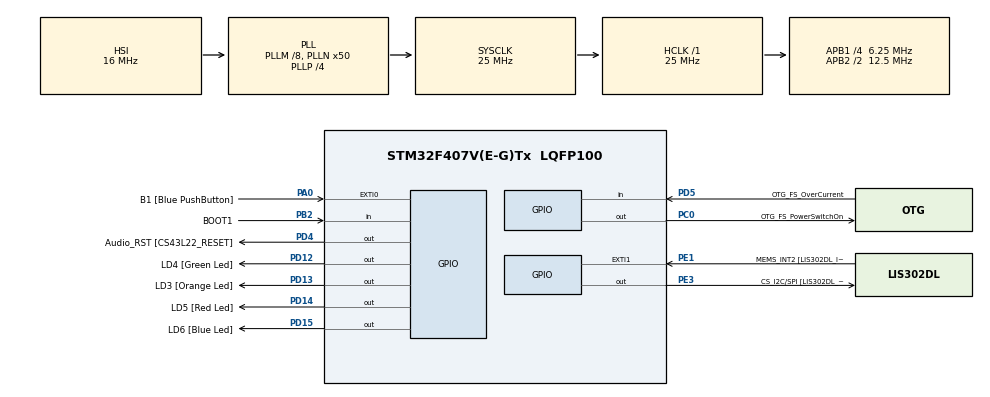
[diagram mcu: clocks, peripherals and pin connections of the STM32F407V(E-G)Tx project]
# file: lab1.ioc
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Mcu.Family=STM32F4
Mcu.Name=STM32F407V(E-G)Tx
Mcu.Package=LQFP100
NVIC.PriorityGroup=NVIC_PRIORITYGROUP_4
NVIC.TIM7_IRQn=true\:0\:0\:false\:false\:true\:false\:true\:true
NVIC.TimeBase=TIM7_IRQn
NVIC.TimeBaseIP=TIM7
PA0-WKUP.GPIO_Label=B1 [Blue PushButton]
PA0-WKUP.Signal=GPXTI0
PA10.GPIO_Label=OTG_FS_ID
PA10.GPIO_Mode=GPIO_MODE_AF_PP
PA10.GPIO_PuPd=GPIO_NOPULL
PA10.GPIO_Speed=GPIO_SPEED_FREQ_LOW
PA10.Signal=USB_OTG_FS_ID
PA11.GPIO_Label=OTG_FS_DM
PA11.GPIO_Mode=GPIO_MODE_AF_PP
PA11.GPIO_PuPd=GPIO_NOPULL
PA11.GPIO_Speed=GPIO_SPEED_FREQ_LOW
PA11.Signal=USB_OTG_FS_DM
PA12.GPIO_Label=OTG_FS_DP
PA12.GPIO_Mode=GPIO_MODE_AF_PP
PA12.GPIO_PuPd=GPIO_NOPULL
PA12.GPIO_Speed=GPIO_SPEED_FREQ_LOW
PA12.Signal=USB_OTG_FS_DP
PA13.GPIO_Label=SWDIO
PA13.Mode=Serial_Wire
PA13.Signal=SYS_JTMS-SWDIO
PA14.GPIO_Label=SWCLK
PA14.Mode=Serial_Wire
PA14.Signal=SYS_JTCK-SWCLK
PA4.GPIO_Label=I2S3_WS [CS43L22_LRCK]
PA4.GPIO_Mode=GPIO_MODE_AF_PP
PA4.GPIO_PuPd=GPIO_NOPULL
PA4.GPIO_Speed=GPIO_SPEED_FREQ_LOW
PA4.Signal=I2S3_WS
PA5.GPIO_Label=SPI1_SCK [LIS302DL_SCL/SPC]
PA5.GPIO_Mode=GPIO_MODE_AF_PP
PA5.GPIO_PuPd=GPIO_NOPULL
PA5.GPIO_Speed=GPIO_SPEED_FREQ_LOW
PA5.Signal=SPI1_SCK
PA6.GPIO_Label=SPI1_MISO [LIS302DL_SDO]
PA6.GPIO_Mode=GPIO_MODE_AF_PP
PA6.GPIO_PuPd=GPIO_NOPULL
PA6.GPIO_Speed=GPIO_SPEED_FREQ_LOW
PA6.Signal=SPI1_MISO
PA7.GPIO_Label=SPI1_MOSI [LIS302DL_SDA/SDI/SDO]
PA7.GPIO_Mode=GPIO_MODE_AF_PP
PA7.GPIO_PuPd=GPIO_NOPULL
PA7.GPIO_Speed=GPIO_SPEED_FREQ_LOW
PA7.Signal=SPI1_MOSI
PA9.GPIO_Label=VBUS_FS
PA9.GPIO_Mode=GPIO_MODE_INPUT
PA9.GPIO_PuPd=GPIO_NOPULL
PA9.Signal=USB_OTG_FS_VBUS
PB10.GPIO_Label=CLK_IN [MP45DT02_CLK]
PB10.GPIO_Mode=GPIO_MODE_AF_PP
PB10.GPIO_PuPd=GPIO_NOPULL
PB10.GPIO_Speed=GPIO_SPEED_FREQ_LOW
PB10.Signal=I2S2_CK
PB2.GPIO_Label=BOOT1
PB2.GPIO_Mode=GPIO_MODE_INPUT
PB2.GPIO_PuPd=GPIO_NOPULL
PB2.Signal=GPIO_Input
PB3.GPIO_Label=SWO
PB3.Signal=SYS_JTDO-SWO
PB6.GPIO_Label=Audio_SCL [CS43L22_SCL]
PB6.GPIO_Mode=GPIO_MODE_AF_OD
PB6.GPIO_PuPd=GPIO_NOPULL
PB6.GPIO_Speed=GPIO_SPEED_FREQ_LOW
PB6.Signal=I2C1_SCL
PB9.GPIO_Label=Audio_SDA [CS43L22_SDA]
PB9.GPIO_Mode=GPIO_MODE_AF_OD
PB9.GPIO_PuPd=GPIO_NOPULL
PB9.GPIO_Speed=GPIO_SPEED_FREQ_LOW
PB9.Signal=I2C1_SDA
PC0.GPIO_Label=OTG_FS_PowerSwitchOn
PC0.GPIO_PuPd=GPIO_NOPULL
PC0.GPIO_Speed=GPIO_SPEED_FREQ_LOW
PC0.PinState=GPIO_PIN_SET
PC0.Signal=GPIO_Output
PC10.GPIO_Label=I2S3_SCK [CS43L22_SCLK]
PC10.GPIO_Mode=GPIO_MODE_AF_PP
PC10.GPIO_PuPd=GPIO_NOPULL
PC10.GPIO_Speed=GPIO_SPEED_FREQ_LOW
PC10.Signal=I2S3_CK
PC12.GPIO_Label=I2S3_SD [CS43L22_SDIN]
PC12.GPIO_Mode=GPIO_MODE_AF_PP
PC12.GPIO_PuPd=GPIO_NOPULL
PC12.GPIO_Speed=GPIO_SPEED_FREQ_LOW
PC12.Signal=I2S3_SD
PC14-OSC32_IN.GPIO_Label=PC14-OSC32_IN
PC14-OSC32_IN.Signal=RCC_OSC32_IN
PC15-OSC32_OUT.GPIO_Label=PC15-OSC32_OUT
PC15-OSC32_OUT.Signal=RCC_OSC32_OUT
PC3.GPIO_Label=PDM_OUT [MP45DT02_DOUT]
PC3.GPIO_Mode=GPIO_MODE_AF_PP
PC3.GPIO_PuPd=GPIO_NOPULL
PC3.GPIO_Speed=GPIO_SPEED_FREQ_LOW
PC3.Signal=I2S2_SD
PC7.GPIO_Label=I2S3_MCK [CS43L22_MCLK]
PC7.GPIO_Mode=GPIO_MODE_AF_PP
PC7.GPIO_PuPd=GPIO_NOPULL
PC7.GPIO_Speed=GPIO_SPEED_FREQ_LOW
PC7.Signal=I2S3_MCK
PD12.GPIO_Label=LD4 [Green Led]
PD12.GPIO_PuPd=GPIO_NOPULL
PD12.GPIO_Speed=GPIO_SPEED_FREQ_LOW
PD12.Signal=GPIO_Output
PD13.GPIO_Label=LD3 [Orange Led]
PD13.GPIO_PuPd=GPIO_NOPULL
PD13.GPIO_Speed=GPIO_SPEED_FREQ_LOW
PD13.Signal=GPIO_Output
PD14.GPIO_Label=LD5 [Red Led]
PD14.GPIO_PuPd=GPIO_NOPULL
PD14.GPIO_Speed=GPIO_SPEED_FREQ_LOW
PD14.Signal=GPIO_Output
PD15.GPIO_Label=LD6 [Blue Led]
PD15.GPIO_PuPd=GPIO_NOPULL
PD15.GPIO_Speed=GPIO_SPEED_FREQ_LOW
PD15.Signal=GPIO_Output
PD4.GPIO_Label=Audio_RST [CS43L22_RESET]
PD4.GPIO_PuPd=GPIO_NOPULL
PD4.GPIO_Speed=GPIO_SPEED_FREQ_LOW
PD4.Signal=GPIO_Output
PD5.GPIO_Label=OTG_FS_OverCurrent
PD5.GPIO_Mode=GPIO_MODE_INPUT
PD5.GPIO_PuPd=GPIO_NOPULL
PD5.Signal=GPIO_Input
PE1.GPIO_Label=MEMS_INT2 [LIS302DL_INT2]
PE1.GPIO_ModeDefaultEXTI=GPIO_MODE_EVT_RISING
PE1.GPIO_PuPd=GPIO_NOPULL
PE1.Signal=GPXTI1
PE3.GPIO_Label=CS_I2C/SPI [LIS302DL_CS_I2C/SPI]
PE3.GPIO_PuPd=GPIO_NOPULL
PE3.GPIO_Speed=GPIO_SPEED_FREQ_LOW
PE3.Signal=GPIO_Output
PH0-OSC_IN.GPIO_Label=PH0-OSC_IN
PH0-OSC_IN.Signal=RCC_OSC_IN
PH1-OSC_OUT.GPIO_Label=PH1-OSC_OUT
PH1-OSC_OUT.Signal=RCC_OSC_OUT
ProjectManager.HeapSize=0x200
ProjectManager.StackSize=0x400
ProjectManager.TargetToolchain=STM32CubeIDE
RCC.48MHZClocksFreq_Value=14285714.285714285
RCC.AHBFreq_Value=25000000
RCC.APB1CLKDivider=RCC_HCLK_DIV4
RCC.APB1Freq_Value=6250000
RCC.APB1TimFreq_Value=12500000
RCC.APB2CLKDivider=RCC_HCLK_DIV2
RCC.APB2Freq_Value=12500000
RCC.APB2TimFreq_Value=25000000
RCC.CortexFreq_Value=25000000
RCC.HCLKFreq_Value=25000000
RCC.HSE_VALUE=8000000
RCC.HSI_VALUE=16000000
RCC.LSE_VALUE=32768
RCC.PLLM=8
RCC.PLLN=50
RCC.PLLP=RCC_PLLP_DIV4
RCC.PLLQ=7
RCC.SYSCLKFreq_VALUE=25000000
RCC.SYSCLKSource=RCC_SYSCLKSOURCE_PLLCLK
RCC.VCOOutputFreq_Value=100000000
VP_SYS_VS_tim7.Mode=TIM7
board=STM32F407G-DISC1

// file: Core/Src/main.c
/* USER CODE BEGIN Header */
/**
  ******************************************************************************
  * @file           : main.c
  * @brief          : Main program body
  ******************************************************************************
  * @attention
  *
  * Copyright (c) 2026 STMicroelectronics.
  * All rights reserved.
  *
  * This software is licensed under terms that can be found in the LICENSE file
  * in the root directory of this software component.
  * If no LICENSE file comes with this software, it is provided AS-IS.
  *
  ******************************************************************************
  */
/* USER CODE END Header */
#include "main.h"
#include "FreeRTOS.h"
#include "task.h"
#include "queue.h"
#include <stdbool.h>

void SystemClock_Config(void);
static void MX_GPIO_Init(void);

/* USER CODE BEGIN 0 */
typedef enum {
    S1,
    S2
} LEDState_t;

LEDState_t current_state = S1;
int s1_step = 0;
TaskHandle_t xLEDTaskHandle = NULL;
xQueueHandle xStateQueue;

void LED_Task(void *pvParameters) {
    uint8_t dummy;
    for (;;) {
        if (current_state == S1) {
            uint16_t pin;
            if      (s1_step == 0) pin = GPIO_PIN_14;
            else if (s1_step == 1) pin = GPIO_PIN_13;
            else                   pin = GPIO_PIN_12;

            HAL_GPIO_WritePin(GPIOD, pin, GPIO_PIN_SET);

            if (xQueueReceive(xStateQueue, &dummy, pdMS_TO_TICKS(1000)) == pdPASS) {
                current_state = S2;
                HAL_GPIO_WritePin(GPIOD, GPIO_PIN_12 | GPIO_PIN_13 | GPIO_PIN_14, GPIO_PIN_RESET);
                continue;
            }

            HAL_GPIO_WritePin(GPIOD, pin, GPIO_PIN_RESET);
            s1_step = (s1_step + 1) % 3;
        } else {
            HAL_GPIO_TogglePin(GPIOD, GPIO_PIN_13);

            if (xQueueReceive(xStateQueue, &dummy, pdMS_TO_TICKS(500)) == pdPASS) {
                current_state = S1;
                s1_step = (s1_step + 1) % 3;
                HAL_GPIO_WritePin(GPIOD, GPIO_PIN_12 | GPIO_PIN_13 | GPIO_PIN_14, GPIO_PIN_RESET);
            }
        }
    }
}

void Button_Task(void *pvParameters) {
    uint32_t start_time;
    uint8_t sig = 1;
    bool is_suspended = false;

    for (;;) {
        if (HAL_GPIO_ReadPin(GPIOA, GPIO_PIN_0) == GPIO_PIN_SET) {
            vTaskDelay(20); // 消抖
            if (HAL_GPIO_ReadPin(GPIOA, GPIO_PIN_0) == GPIO_PIN_SET) {
                start_time = xTaskGetTickCount();

                while (HAL_GPIO_ReadPin(GPIOA, GPIO_PIN_0) == GPIO_PIN_SET) {
                    vTaskDelay(20);
                }

                uint32_t duration = xTaskGetTickCount() - start_time;

                if (duration >= 1000) {
                    if (!is_suspended) {
                        vTaskSuspend(xLEDTaskHandle);
                        is_suspended = true;
                    } else {
                        vTaskResume(xLEDTaskHandle);
                        is_suspended = false;
                    }
                } else {
                    if (!is_suspended) {
                        xQueueSend(xStateQueue, &sig, 0);
                    }
                }
            }
        }
        vTaskDelay(50);
    }
}

/* USER CODE END 0 */

int main(void)
{

  /* MCU Configuration--------------------------------------------------------*/

  /* Reset of all peripherals, Initializes the Flash interface and the Systick. */
  HAL_Init();

  /* Configure the system clock */
  SystemClock_Config();

  /* Initialize all configured peripherals */
  MX_GPIO_Init();
  /* USER CODE BEGIN 2 */
  xStateQueue = xQueueCreate(5, sizeof(uint8_t));

  xTaskCreate(LED_Task, "LEDTask", 128, NULL, 2, &xLEDTaskHandle);

  xTaskCreate(Button_Task, "BtnTask", 128, NULL, 1, NULL);

  vTaskStartScheduler();

  /* USER CODE END 2 */

  /* Infinite loop */
  while (1)
  {

  }
}

void SystemClock_Config(void)
{
  RCC_OscInitTypeDef RCC_OscInitStruct = {0};
  RCC_ClkInitTypeDef RCC_ClkInitStruct = {0};

  /** Configure the main internal regulator output voltage
  */
  __HAL_RCC_PWR_CLK_ENABLE();
  __HAL_PWR_VOLTAGESCALING_CONFIG(PWR_REGULATOR_VOLTAGE_SCALE1);

  /** Initializes the RCC Oscillators according to the specified parameters
  * in the RCC_OscInitTypeDef structure.
  */
  RCC_OscInitStruct.OscillatorType = RCC_OSCILLATORTYPE_HSI;
  RCC_OscInitStruct.HSIState = RCC_HSI_ON;
  RCC_OscInitStruct.HSICalibrationValue = RCC_HSICALIBRATION_DEFAULT;
  RCC_OscInitStruct.PLL.PLLState = RCC_PLL_ON;
  RCC_OscInitStruct.PLL.PLLSource = RCC_PLLSOURCE_HSI;
  RCC_OscInitStruct.PLL.PLLM = 8;
  RCC_OscInitStruct.PLL.PLLN = 50;
  RCC_OscInitStruct.PLL.PLLP = RCC_PLLP_DIV4;
  RCC_OscInitStruct.PLL.PLLQ = 7;
  if (HAL_RCC_OscConfig(&RCC_OscInitStruct) != HAL_OK)
  {
    Error_Handler();
  }

  /** Initializes the CPU, AHB and APB buses clocks
  */
  RCC_ClkInitStruct.ClockType = RCC_CLOCKTYPE_HCLK|RCC_CLOCKTYPE_SYSCLK
                              |RCC_CLOCKTYPE_PCLK1|RCC_CLOCKTYPE_PCLK2;
  RCC_ClkInitStruct.SYSCLKSource = RCC_SYSCLKSOURCE_PLLCLK;
  RCC_ClkInitStruct.AHBCLKDivider = RCC_SYSCLK_DIV1;
  RCC_ClkInitStruct.APB1CLKDivider = RCC_HCLK_DIV4;
  RCC_ClkInitStruct.APB2CLKDivider = RCC_HCLK_DIV2;

  if (HAL_RCC_ClockConfig(&RCC_ClkInitStruct, FLASH_LATENCY_0) != HAL_OK)
  {
    Error_Handler();
  }
}

static void MX_GPIO_Init(void)
{
  GPIO_InitTypeDef GPIO_InitStruct = {0};

  /* GPIO Ports Clock Enable */
  __HAL_RCC_GPIOE_CLK_ENABLE();
  __HAL_RCC_GPIOC_CLK_ENABLE();
  __HAL_RCC_GPIOH_CLK_ENABLE();
  __HAL_RCC_GPIOA_CLK_ENABLE();
  __HAL_RCC_GPIOB_CLK_ENABLE();
  __HAL_RCC_GPIOD_CLK_ENABLE();

  /*Configure GPIO pin Output Level */
  HAL_GPIO_WritePin(CS_I2C_SPI_GPIO_Port, CS_I2C_SPI_Pin, GPIO_PIN_RESET);

  /*Configure GPIO pin Output Level */
  HAL_GPIO_WritePin(OTG_FS_PowerSwitchOn_GPIO_Port, OTG_FS_PowerSwitchOn_Pin, GPIO_PIN_SET);

  /*Configure GPIO pin Output Level */
  HAL_GPIO_WritePin(GPIOD, LD4_Pin|LD3_Pin|LD5_Pin|LD6_Pin
                          |Audio_RST_Pin, GPIO_PIN_RESET);

  /*Configure GPIO pin : CS_I2C_SPI_Pin */
  GPIO_InitStruct.Pin = CS_I2C_SPI_Pin;
  GPIO_InitStruct.Mode = GPIO_MODE_OUTPUT_PP;
  GPIO_InitStruct.Pull = GPIO_NOPULL;
  GPIO_InitStruct.Speed = GPIO_SPEED_FREQ_LOW;
  HAL_GPIO_Init(CS_I2C_SPI_GPIO_Port, &GPIO_InitStruct);

  /*Configure GPIO pin : OTG_FS_PowerSwitchOn_Pin */
  GPIO_InitStruct.Pin = OTG_FS_PowerSwitchOn_Pin;
  GPIO_InitStruct.Mode = GPIO_MODE_OUTPUT_PP;
  GPIO_InitStruct.Pull = GPIO_NOPULL;
  GPIO_InitStruct.Speed = GPIO_SPEED_FREQ_LOW;
  HAL_GPIO_Init(OTG_FS_PowerSwitchOn_GPIO_Port, &GPIO_InitStruct);

  /*Configure GPIO pin : PDM_OUT_Pin */
  GPIO_InitStruct.Pin = PDM_OUT_Pin;
  GPIO_InitStruct.Mode = GPIO_MODE_AF_PP;
  GPIO_InitStruct.Pull = GPIO_NOPULL;
  GPIO_InitStruct.Speed = GPIO_SPEED_FREQ_LOW;
  GPIO_InitStruct.Alternate = GPIO_AF5_SPI2;
  HAL_GPIO_Init(PDM_OUT_GPIO_Port, &GPIO_InitStruct);

  /*Configure GPIO pin : B1_Pin */
  GPIO_InitStruct.Pin = B1_Pin;
  GPIO_InitStruct.Mode = GPIO_MODE_IT_RISING;
  GPIO_InitStruct.Pull = GPIO_NOPULL;
  HAL_GPIO_Init(B1_GPIO_Port, &GPIO_InitStruct);

  /*Configure GPIO pin : I2S3_WS_Pin */
  GPIO_InitStruct.Pin = I2S3_WS_Pin;
  GPIO_InitStruct.Mode = GPIO_MODE_AF_PP;
  GPIO_InitStruct.Pull = GPIO_NOPULL;
  GPIO_InitStruct.Speed = GPIO_SPEED_FREQ_LOW;
  GPIO_InitStruct.Alternate = GPIO_AF6_SPI3;
  HAL_GPIO_Init(I2S3_WS_GPIO_Port, &GPIO_InitStruct);

  /*Configure GPIO pins : SPI1_SCK_Pin SPI1_MISO_Pin SPI1_MOSI_Pin */
  GPIO_InitStruct.Pin = SPI1_SCK_Pin|SPI1_MISO_Pin|SPI1_MOSI_Pin;
  GPIO_InitStruct.Mode = GPIO_MODE_AF_PP;
  GPIO_InitStruct.Pull = GPIO_NOPULL;
  GPIO_InitStruct.Speed = GPIO_SPEED_FREQ_LOW;
  GPIO_InitStruct.Alternate = GPIO_AF5_SPI1;
  HAL_GPIO_Init(GPIOA, &GPIO_InitStruct);

  /*Configure GPIO pin : BOOT1_Pin */
  GPIO_InitStruct.Pin = BOOT1_Pin;
  GPIO_InitStruct.Mode = GPIO_MODE_INPUT;
  GPIO_InitStruct.Pull = GPIO_NOPULL;
  HAL_GPIO_Init(BOOT1_GPIO_Port, &GPIO_InitStruct);

  /*Configure GPIO pin : CLK_IN_Pin */
  GPIO_InitStruct.Pin = CLK_IN_Pin;
  GPIO_InitStruct.Mode = GPIO_MODE_AF_PP;
  GPIO_InitStruct.Pull = GPIO_NOPULL;
  GPIO_InitStruct.Speed = GPIO_SPEED_FREQ_LOW;
  GPIO_InitStruct.Alternate = GPIO_AF5_SPI2;
  HAL_GPIO_Init(CLK_IN_GPIO_Port, &GPIO_InitStruct);

  /*Configure GPIO pins : LD4_Pin LD3_Pin LD5_Pin LD6_Pin
                           Audio_RST_Pin */
  GPIO_InitStruct.Pin = LD4_Pin|LD3_Pin|LD5_Pin|LD6_Pin
                          |Audio_RST_Pin;
  GPIO_InitStruct.Mode = GPIO_MODE_OUTPUT_PP;
  GPIO_InitStruct.Pull = GPIO_NOPULL;
  GPIO_InitStruct.Speed = GPIO_SPEED_FREQ_LOW;
  HAL_GPIO_Init(GPIOD, &GPIO_InitStruct);

  /*Configure GPIO pins : I2S3_MCK_Pin I2S3_SCK_Pin I2S3_SD_Pin */
  GPIO_InitStruct.Pin = I2S3_MCK_Pin|I2S3_SCK_Pin|I2S3_SD_Pin;
  GPIO_InitStruct.Mode = GPIO_MODE_AF_PP;
  GPIO_InitStruct.Pull = GPIO_NOPULL;
  GPIO_InitStruct.Speed = GPIO_SPEED_FREQ_LOW;
  GPIO_InitStruct.Alternate = GPIO_AF6_SPI3;
  HAL_GPIO_Init(GPIOC, &GPIO_InitStruct);

  /*Configure GPIO pin : VBUS_FS_Pin */
  GPIO_InitStruct.Pin = VBUS_FS_Pin;
  GPIO_InitStruct.Mode = GPIO_MODE_INPUT;
  GPIO_InitStruct.Pull = GPIO_NOPULL;
  HAL_GPIO_Init(VBUS_FS_GPIO_Port, &GPIO_InitStruct);

  /*Configure GPIO pins : OTG_FS_ID_Pin OTG_FS_DM_Pin OTG_FS_DP_Pin */
  GPIO_InitStruct.Pin = OTG_FS_ID_Pin|OTG_FS_DM_Pin|OTG_FS_DP_Pin;
  GPIO_InitStruct.Mode = GPIO_MODE_AF_PP;
  GPIO_InitStruct.Pull = GPIO_NOPULL;
  GPIO_InitStruct.Speed = GPIO_SPEED_FREQ_LOW;
  GPIO_InitStruct.Alternate = GPIO_AF10_OTG_FS;
  HAL_GPIO_Init(GPIOA, &GPIO_InitStruct);

  /*Configure GPIO pin : OTG_FS_OverCurrent_Pin */
  GPIO_InitStruct.Pin = OTG_FS_OverCurrent_Pin;
  GPIO_InitStruct.Mode = GPIO_MODE_INPUT;
  GPIO_InitStruct.Pull = GPIO_NOPULL;
  HAL_GPIO_Init(OTG_FS_OverCurrent_GPIO_Port, &GPIO_InitStruct);

  /*Configure GPIO pins : Audio_SCL_Pin Audio_SDA_Pin */
  GPIO_InitStruct.Pin = Audio_SCL_Pin|Audio_SDA_Pin;
  GPIO_InitStruct.Mode = GPIO_MODE_AF_OD;
  GPIO_InitStruct.Pull = GPIO_NOPULL;
  GPIO_InitStruct.Speed = GPIO_SPEED_FREQ_LOW;
  GPIO_InitStruct.Alternate = GPIO_AF4_I2C1;
  HAL_GPIO_Init(GPIOB, &GPIO_InitStruct);

  /*Configure GPIO pin : MEMS_INT2_Pin */
  GPIO_InitStruct.Pin = MEMS_INT2_Pin;
  GPIO_InitStruct.Mode = GPIO_MODE_EVT_RISING;
  GPIO_InitStruct.Pull = GPIO_NOPULL;
  HAL_GPIO_Init(MEMS_INT2_GPIO_Port, &GPIO_InitStruct);

}

void HAL_TIM_PeriodElapsedCallback(TIM_HandleTypeDef *htim)
{
  if (htim->Instance == TIM7)
  {
    HAL_IncTick();
  }
}

void Error_Handler(void)
{
  __disable_irq();
  while (1)
  {
  }
}
